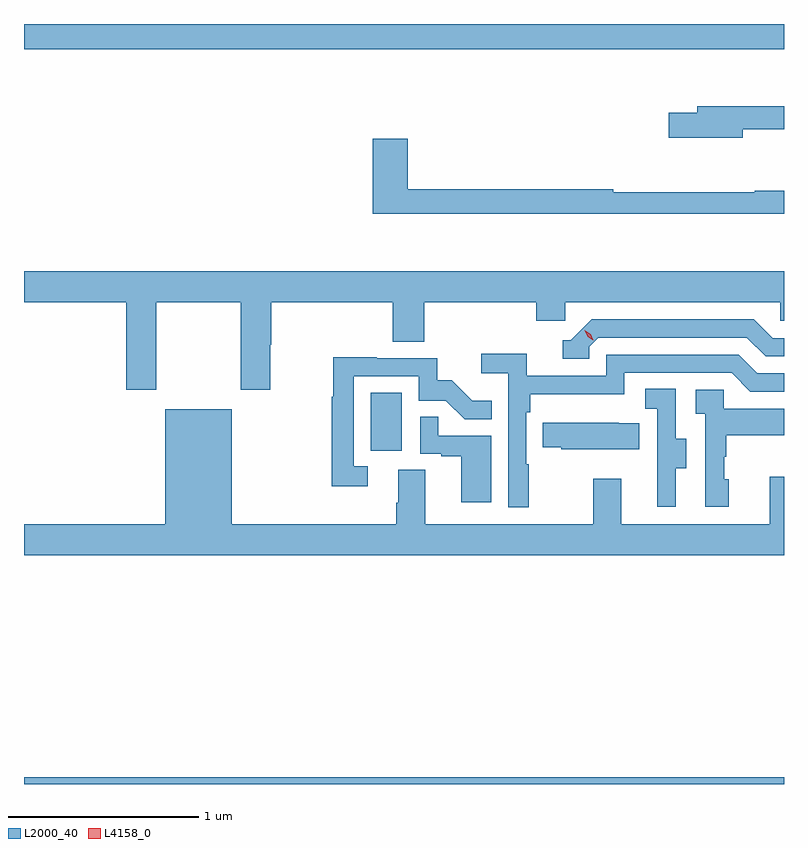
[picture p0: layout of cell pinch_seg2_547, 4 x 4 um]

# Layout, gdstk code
import gdstk
lib = gdstk.Library(unit=1e-6, precision=1e-09)
def R(c, l, rs):  # rectangles x0, y0, x1, y1
    for r in rs: c.add(gdstk.rectangle(r[:2], r[2:], *l))
def P(c, l, *ps):  # polygons
    for p in ps: c.add(gdstk.Polygon(p, *l))
L2000_40 = (2000, 40)
L4158_0 = (4158, 0)

pinch_seg2_547 = lib.new_cell('pinch_seg2_547')
R(pinch_seg2_547, L2000_40, [(1101.668,605.141,1105.668,605.176), (1103.492,606.894,1103.656,607.201), (1101.668,609.008,1105.668,609.141)])
P(pinch_seg2_547, L2000_40, [(1105.45,608.586),(1105.668,608.586),(1105.668,608.707),(1105.211,608.707),(1105.211,608.673),(1105.062,608.673),(1105.062,608.543),(1105.45,608.543)],
  [(1105.668,608.263),(1105.513,608.263),(1105.513,608.255),(1104.77,608.255),(1104.77,608.27),(1103.687,608.27),(1103.687,608.536),(1103.504,608.536),(1103.504,608.142),(1105.668,608.142)],
  [(1102.365,607.676),(1102.81,607.676),(1102.81,607.215),(1102.965,607.215),(1102.965,607.454),(1102.97,607.454),(1102.97,607.676),(1103.609,607.676),(1103.609,607.468),(1103.774,607.468),(1103.774,607.676),(1104.365,607.676),(1104.365,607.578),(1104.516,607.578),(1104.516,607.676),(1105.647,607.676),(1105.647,607.578),(1105.668,607.578),(1105.668,607.84),(1101.668,607.84),(1101.668,607.676),(1102.205,607.676),(1102.205,607.215),(1102.365,607.215)],
  [(1104.642,607.443),(1104.69,607.491),(1105.473,607.491),(1105.572,607.392),(1105.668,607.392),(1105.668,607.488),(1105.609,607.488),(1105.51,607.587),(1104.657,607.587),(1104.546,607.476),(1104.503,607.476),(1104.503,607.38),(1104.642,607.38)],
  [(1104.325,606.824),(1104.312,606.824),(1104.312,607.097),(1104.332,607.097),(1104.332,607.193),(1104.828,607.193),(1104.828,607.305),(1105.392,607.305),(1105.491,607.206),(1105.668,607.206),(1105.668,607.302),(1105.528,607.302),(1105.429,607.401),(1104.732,607.401),(1104.732,607.29),(1104.314,607.29),(1104.314,607.406),(1104.075,607.406),(1104.075,607.304),(1104.216,607.304),(1104.216,606.597),(1104.325,606.597)],
  [(1103.476,606.813),(1103.403,606.813),(1103.403,607.287),(1103.745,607.287),(1103.745,607.158),(1103.889,607.158),(1103.987,607.06),(1104.131,607.06),(1104.131,607.159),(1104.027,607.159),(1103.92,607.266),(1103.844,607.266),(1103.844,607.383),(1103.525,607.383),(1103.525,607.388),(1103.295,607.388),(1103.295,607.18),(1103.287,607.18),(1103.287,606.708),(1103.476,606.708)],
  [(1105.099,606.802),(1105.153,606.802),(1105.153,606.957),(1105.098,606.957),(1105.098,607.22),(1104.939,607.22),(1104.939,607.117),(1105.002,607.117),(1105.002,606.813),(1105.001,606.813),(1105.001,606.6),(1105.099,606.6)],
  [(1105.378,606.744),(1105.353,606.744),(1105.353,606.863),(1105.363,606.863),(1105.363,606.977),(1105.668,606.977),(1105.668,607.117),(1105.35,607.117),(1105.35,607.215),(1105.203,607.215),(1105.203,607.091),(1105.254,607.091),(1105.254,606.6),(1105.378,606.6)],
  [(1105.668,606.757),(1105.592,606.757),(1105.592,606.508),(1104.811,606.508),(1104.811,606.748),(1104.664,606.748),(1104.664,606.508),(1103.779,606.508),(1103.779,606.794),(1103.639,606.794),(1103.639,606.62),(1103.627,606.62),(1103.627,606.508),(1102.762,606.508),(1102.762,607.114),(1102.412,607.114),(1102.412,606.508),(1101.668,606.508),(1101.668,606.344),(1105.668,606.344)],
  [(1104.127,606.975),(1103.849,606.975),(1103.849,607.073),(1103.754,607.073),(1103.754,606.879),(1103.865,606.879),(1103.865,606.867),(1103.969,606.867),(1103.969,606.624),(1104.127,606.624)],
  [(1104.905,607.039),(1104.797,607.039),(1104.797,607.042),(1104.397,607.042),(1104.397,606.913),(1104.495,606.913),(1104.495,606.902),(1104.905,606.902)])
P(pinch_seg2_547, L4158_0, [(1104.665,607.476),(1104.634,607.496),(1104.619,607.529),(1104.619,607.529),(1104.619,607.529),(1104.65,607.509),(1104.665,607.476),(1104.665,607.476)])

lib.write_gds('pinch_seg2_547.gds')
